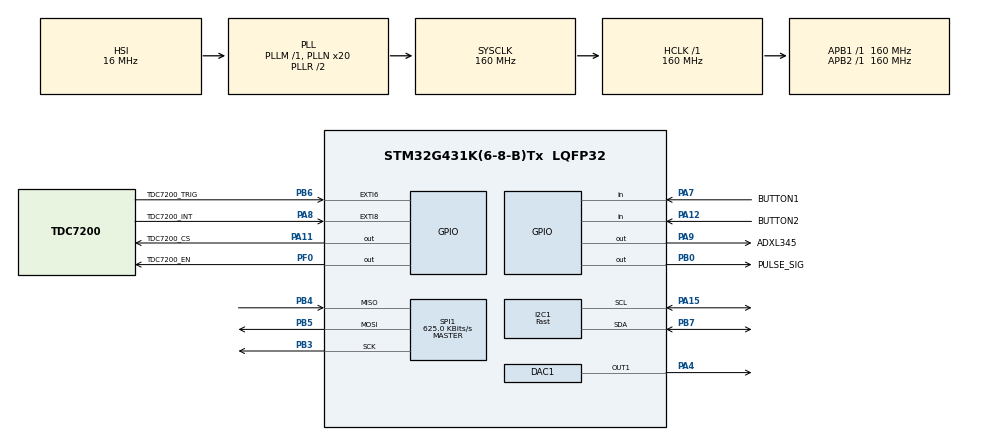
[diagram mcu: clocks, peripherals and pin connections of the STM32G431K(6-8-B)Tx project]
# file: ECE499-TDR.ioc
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DAC1.DAC_Trigger_OUT1-DAC_OUT1=DAC_TRIGGER_SOFTWARE
DAC1.TriangleAmplitude_OUT1-DAC_OUT1=DAC_TRIANGLEAMPLITUDE_2047
DAC1.WaveGeneration_OUT1-DAC_OUT1=TriangleWaveGeneration
I2C1.I2C_Speed_Mode=I2C_Fast
I2C1.Timing=0x00F07BFF
Mcu.Family=STM32G4
Mcu.Name=STM32G431K(6-8-B)Tx
Mcu.Package=LQFP32
NVIC.EXTI9_5_IRQn=true\:0\:0\:false\:false\:true\:true\:true\:true
NVIC.PriorityGroup=NVIC_PRIORITYGROUP_4
PA11.GPIO_Label=TDC7200_CS
PA11.GPIO_PuPd=GPIO_PULLUP
PA11.GPIO_Speed=GPIO_SPEED_FREQ_HIGH
PA11.PinState=GPIO_PIN_SET
PA11.Signal=GPIO_Output
PA12.GPIO_Label=BUTTON2
PA12.Signal=GPIO_Input
PA13.Mode=Serial_Wire
PA13.Signal=SYS_JTMS-SWDIO
PA14.Mode=Serial_Wire
PA14.Signal=SYS_JTCK-SWCLK
PA15.Mode=I2C
PA15.Signal=I2C1_SCL
PA4.Signal=COMP_DAC11_group
PA7.GPIO_Label=BUTTON1
PA7.Signal=GPIO_Input
PA8.GPIO_Label=TDC7200_INT
PA8.GPIO_ModeDefaultEXTI=GPIO_MODE_IT_RISING_FALLING
PA8.Signal=GPXTI8
PA9.GPIO_Label=ADXL345
PA9.GPIO_Speed=GPIO_SPEED_FREQ_HIGH
PA9.Signal=GPIO_Output
PB0.GPIO_Label=PULSE_SIG
PB0.Signal=GPIO_Output
PB3.GPIO_Speed=GPIO_SPEED_FREQ_HIGH
PB3.Mode=Full_Duplex_Master
PB3.Signal=SPI1_SCK
PB4.GPIO_Speed=GPIO_SPEED_FREQ_HIGH
PB4.Mode=Full_Duplex_Master
PB4.Signal=SPI1_MISO
PB5.GPIO_Speed=GPIO_SPEED_FREQ_HIGH
PB5.Mode=Full_Duplex_Master
PB5.Signal=SPI1_MOSI
PB6.GPIO_Label=TDC7200_TRIG
PB6.GPIO_ModeDefaultEXTI=GPIO_MODE_IT_RISING
PB6.Signal=GPXTI6
PB7.Mode=I2C
PB7.Signal=I2C1_SDA
PF0-OSC_IN.GPIO_Label=TDC7200_EN
PF0-OSC_IN.GPIO_PuPd=GPIO_NOPULL
PF0-OSC_IN.GPIO_Speed=GPIO_SPEED_FREQ_HIGH
PF0-OSC_IN.PinState=GPIO_PIN_RESET
PF0-OSC_IN.Signal=GPIO_Output
ProjectManager.HeapSize=0x200
ProjectManager.StackSize=0x400
ProjectManager.TargetToolchain=STM32CubeIDE
RCC.ADC12Freq_Value=160000000
RCC.AHBFreq_Value=160000000
RCC.APB1Freq_Value=160000000
RCC.APB1TimFreq_Value=160000000
RCC.APB2Freq_Value=160000000
RCC.APB2TimFreq_Value=160000000
RCC.CortexFreq_Value=160000000
RCC.EXTERNAL_CLOCK_VALUE=12288000
RCC.HCLKFreq_Value=160000000
RCC.HSE_VALUE=25000000
RCC.HSI48_VALUE=48000000
RCC.HSI_VALUE=16000000
RCC.LSE_VALUE=32768
RCC.PLLN=20
RCC.PWR_Regulator_Voltage_Scale=PWR_REGULATOR_VOLTAGE_SCALE1_BOOST
RCC.SYSCLKFreq_VALUE=160000000
RCC.SYSCLKSource=RCC_SYSCLKSOURCE_PLLCLK
RCC.USBFreq_Value=160000000
RCC.VCOOutputFreq_Value=320000000
SH.COMP_DAC11_group.0=DAC1_OUT1,DAC_OUT1
SPI1.BaudRatePrescaler=SPI_BAUDRATEPRESCALER_256
SPI1.CRCCalculation=SPI_CRCCALCULATION_DISABLE
SPI1.CalculateBaudRate=625.0 KBits/s
SPI1.DataSize=SPI_DATASIZE_8BIT
SPI1.Direction=SPI_DIRECTION_2LINES
SPI1.Mode=SPI_MODE_MASTER
SPI1.TIMode=SPI_TIMODE_DISABLE
SPI1.VirtualType=VM_MASTER
TIM2.AutoReloadPreload=TIM_AUTORELOAD_PRELOAD_ENABLE
TIM2.PeriodNoDither=48000-1
TIM2.Prescaler=10000-1
TIM2.TIM_MasterOutputTrigger=TIM_TRGO_UPDATE
TIM3.PeriodNoDither=85-1
TIM3.Prescaler=1-1
TIM3.TIM_MasterOutputTrigger=TIM_TRGO_UPDATE
TIM6.PeriodNoDither=21000-1
TIM6.Prescaler=40000-1
TIM7.PeriodNoDither=85-1
TIM7.Prescaler=1-1
TIM7.TIM_MasterOutputTrigger=TIM_TRGO_UPDATE
VP_TIM2_VS_ClockSourceINT.Mode=Internal
VP_TIM3_VS_ClockSourceINT.Mode=Internal
VP_TIM6_VS_ClockSourceINT.Mode=Enable_Timer
VP_TIM6_VS_OPM.Mode=OPM_bit
VP_TIM7_VS_ClockSourceINT.Mode=Enable_Timer
board=NUCLEO-G431KB

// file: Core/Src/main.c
/* USER CODE BEGIN Header */
/**
 ******************************************************************************
 * @file           : main.c
 * @brief          : Main program body
 ******************************************************************************
 * @attention
 *
 * Copyright (c) 2023 STMicroelectronics.
 * All rights reserved.
 *
 * This software is licensed under terms that can be found in the LICENSE file
 * in the root directory of this software component.
 * If no LICENSE file comes with this software, it is provided AS-IS.
 *
 ******************************************************************************
 */
/* USER CODE END Header */
#include "main.h"
#include "dac.h"
#include "i2c.h"
#include "spi.h"
#include "tim.h"
#include "gpio.h"

/* USER CODE BEGIN Includes */
#include <stdio.h>
/* USER CODE END Includes */

/* USER CODE BEGIN PTD */
#include "ADXL345.h"
#include "TDC7200_driver.h"
/* USER CODE END PTD */

/* USER CODE BEGIN PV */

char buff[100];
ADXL345 accelDevice;
uint8_t gTDC_TrigFlag= 0;
uint8_t gTDC_IntFlag= 0;

/* USER CODE END PV */

void SystemClock_Config(void);
/* USER CODE BEGIN PFP */
void myOLED_Startup(void);
void myOLED_PrintTDC_Data(double* tdcTime, double* tdcLength);
void myOLED_PrintTDC_Propogation(double* tdcTime);
void myDAC_init(void);

/* USER CODE END PFP */

/* USER CODE BEGIN 0 */

//int _write(int file, char *ptr, int len)
//{
//	HAL_UART_Transmit(&huart2, (uint8_t*) ptr, len, 1000);
//	return len;
//}

/* USER CODE END 0 */

int main(void)
{

  /* MCU Configuration--------------------------------------------------------*/

  /* Reset of all peripherals, Initializes the Flash interface and the Systick. */
  HAL_Init();

  /* Configure the system clock */
  SystemClock_Config();

  /* USER CODE BEGIN SysInit */
  //Note: this GPIO pin PB4 is assigned to the system JTAG RESET pin for the onboard JTAG debugger.
  	//Since we arent using JTAG debugging, we can release PB4 pin from this alternate functionality
  		//and it can now be set to any GPIO functionality
  			//(in the MX_GPIO_Init fxn, it assigns PB4 as the SPI MISO line)
    GPIOB->MODER &= ~GPIO_MODER_MODE4_Msk;
    GPIOB->MODER |= GPIO_MODER_MODE4_0;

  /* USER CODE END SysInit */

  /* Initialize all configured peripherals */
  MX_GPIO_Init();
  MX_I2C1_Init();
  MX_TIM6_Init();
  MX_TIM7_Init();
  MX_TIM3_Init();
  MX_TIM2_Init();
  MX_SPI1_Init();
  MX_DAC1_Init();
  /* USER CODE BEGIN 2 */

 // HAL_TIM_Base_Start_IT(&htim2);

	SSD1306_Init();		//initialize I2C communication b/w MCU and OLED screen
	myOLED_Startup(); //prints startup message to OLED screen
	HAL_Delay(2500);

	myTDC_EnablePowerOn();	//This fxn toggles TDC_EN pin from 0 to 1 to ensure TDC powers up properly
  myTDC_Init(); //this fxn configures various TDC registers to our desired settings

	myDAC_init(); 	//CONFIGURING DAC1 PERIPHERAL MANUALLY
				//(Cuz STM32CubeMX IDE doesn't let you configure DAC to output a simple DC voltage, which we want)

	//HAL_DAC_Start(&hdac1, DAC_CHANNEL_1);

	double totalTime = 0;
	double TDC_singleConvertedTime = 0;
	double TDC_convertedTimeAvg = 0;

	double totalLength = 0;
	double TDC_singleCableLength = 0;
	double TDC_cableLengthAvg = 0;

	double propConstCalc = 0;

	SSD1306_Clear();
	SSD1306_GotoXY(38, 0);
	SSD1306_Puts(" TDR ", &Font_11x18, 0);
	SSD1306_GotoXY(8, 28);
	SSD1306_Puts("Waiting for user", &Font_7x10, 1);

	SSD1306_GotoXY(44, 40);
	SSD1306_Puts("input...", &Font_7x10, 1);

	SSD1306_UpdateScreen();

  /* USER CODE END 2 */

  /* Infinite loop */
	while(1)
	{

    /* USER CODE BEGIN 3 */

		if(HAL_GPIO_ReadPin(BUTTON2_GPIO_Port, BUTTON2_Pin) == 1)
		{
			//button debouncing and anti-button-holding-juicer
			HAL_Delay(100);
			while(HAL_GPIO_ReadPin(BUTTON2_GPIO_Port, BUTTON2_Pin) == 1); //do nothing, wait here until user releases button

			for(uint8_t itr = 0; itr <= 100; itr++)
			{
				myTDC_StartMeasurement(); //MCU will write to TDC configReg to START_MEASUREMENT
				while(gTDC_TrigFlag == 0); //DO NOTHING, WAIT UNTIL TDC_TRIG PIN TRIGGERS MCU ISR, ie: w8 until TDC rdy

				//SET PULSE SIGNAL TO HIGH (TDC WILL START MEASUREMENT AS SOON AS MCU SETS THIS PULSE SIGNAL HIGH)
				HAL_GPIO_WritePin(PULSE_SIG_GPIO_Port, PULSE_SIG_Pin, 1);
				HAL_GPIO_WritePin(PULSE_SIG_GPIO_Port, PULSE_SIG_Pin, 0);

				uint8_t juiceOnce = 0;
				while(gTDC_IntFlag == 0) //wait here until TDC raises interrupt to MCU
				{
					// (ie: wait for TDC to say to MCU: "MEASUREMENT DONE, COME COLLECT JUICER MEASUREMENTS")

					if(juiceOnce == 0)
					{
						SSD1306_Clear();
						SSD1306_GotoXY(38, 0);
						SSD1306_Puts(" TDR ", &Font_11x18, 0);
						SSD1306_GotoXY(0, 24);
						SSD1306_Puts("w8 for intFlag(B1)", &Font_7x10, 1);
						SSD1306_GotoXY(0, 36);
						sprintf(buff, "IntReg: %ld",TDC7200_Read_N_Registers(TDC_INT_STATUS, 1));
						SSD1306_Puts(buff, &Font_7x10, 1);
						SSD1306_UpdateScreen();
					}
					juiceOnce = 1;
				}

				//yoink the measurements from TDC TIMEx registers and do some black magic math to convert to seconds
				myTDC_CalculateTime(&TDC_singleConvertedTime);
				totalTime += TDC_singleConvertedTime;

				TDC_singleCableLength = TDC_singleConvertedTime;
				myTDC_CableLength(&TDC_singleCableLength);
				totalLength += TDC_singleCableLength;
			}
			TDC_convertedTimeAvg = totalTime / 100.0;
			TDC_cableLengthAvg = totalLength / 100.0;

			totalTime = 0;
			totalLength = 0;
			//reset the TDC-related Trigger and Interrupt flags
			gTDC_TrigFlag = 0;
			gTDC_IntFlag 	= 0;

			SSD1306_Clear();
			myOLED_PrintTDC_Data(&TDC_convertedTimeAvg, &TDC_cableLengthAvg); //print to OLED juicer
		}

		if(HAL_GPIO_ReadPin(BUTTON1_GPIO_Port, BUTTON1_Pin) == 1)
		{
			//button debouncing and anti-button-holding-juicer
					HAL_Delay(100);
					while(HAL_GPIO_ReadPin(BUTTON1_GPIO_Port, BUTTON1_Pin) == 1); //do nothing, wait here until user releases button

					for(uint8_t itr = 0; itr <= 100; itr++)
			{
				myTDC_StartMeasurement(); //MCU will write to TDC configReg to START_MEASUREMENT
				while(gTDC_TrigFlag == 0); //DO NOTHING, WAIT UNTIL TDC_TRIG PIN TRIGGERS MCU ISR, ie: w8 until TDC rdy

				//SET PULSE SIGNAL TO HIGH (TDC WILL START MEASUREMENT AS SOON AS MCU SETS THIS PULSE SIGNAL HIGH)
				HAL_GPIO_WritePin(PULSE_SIG_GPIO_Port, PULSE_SIG_Pin, 1);
				HAL_GPIO_WritePin(PULSE_SIG_GPIO_Port, PULSE_SIG_Pin, 0);

				uint8_t juiceOnce = 0;
				while(gTDC_IntFlag == 0) //wait here until TDC raises interrupt to MCU
				{
					// (ie: wait for TDC to say to MCU: "MEASUREMENT DONE, COME COLLECT JUICER MEASUREMENTS")

					if(juiceOnce == 0)
					{
						SSD1306_Clear();
						SSD1306_GotoXY(38, 0);
						SSD1306_Puts(" TDR ", &Font_11x18, 0);
						SSD1306_GotoXY(0, 24);
						SSD1306_Puts("w8 for intFlag(B1)", &Font_7x10, 1);
						SSD1306_GotoXY(0, 36);
						sprintf(buff, "IntReg: %ld",TDC7200_Read_N_Registers(TDC_INT_STATUS, 1));
						SSD1306_Puts(buff, &Font_7x10, 1);
						SSD1306_UpdateScreen();
					}
					juiceOnce = 1;
				}
				//yoink the measurements from TDC TIMEx registers and do some black magic math to convert to seconds
				myTDC_CalculateTime(&TDC_singleConvertedTime);
				totalTime += TDC_singleConvertedTime;
			}
			TDC_convertedTimeAvg = totalTime / 100.0;
			propConstCalc = 1 / (299792458.0L * TDC_convertedTimeAvg);

			totalTime = 0;
			//reset the TDC-related Trigger and Interrupt flags
			gTDC_TrigFlag = 0;
			gTDC_IntFlag = 0;

			SSD1306_Clear();
			myOLED_PrintTDC_Propogation(&propConstCalc);
		}
	}
	HAL_Delay(20);
  /* USER CODE END 3 */
}

void SystemClock_Config(void)
{
  RCC_OscInitTypeDef RCC_OscInitStruct = {0};
  RCC_ClkInitTypeDef RCC_ClkInitStruct = {0};

  /** Configure the main internal regulator output voltage
  */
  HAL_PWREx_ControlVoltageScaling(PWR_REGULATOR_VOLTAGE_SCALE1_BOOST);

  /** Initializes the RCC Oscillators according to the specified parameters
  * in the RCC_OscInitTypeDef structure.
  */
  RCC_OscInitStruct.OscillatorType = RCC_OSCILLATORTYPE_HSI;
  RCC_OscInitStruct.HSIState = RCC_HSI_ON;
  RCC_OscInitStruct.HSICalibrationValue = RCC_HSICALIBRATION_DEFAULT;
  RCC_OscInitStruct.PLL.PLLState = RCC_PLL_ON;
  RCC_OscInitStruct.PLL.PLLSource = RCC_PLLSOURCE_HSI;
  RCC_OscInitStruct.PLL.PLLM = RCC_PLLM_DIV1;
  RCC_OscInitStruct.PLL.PLLN = 20;
  RCC_OscInitStruct.PLL.PLLP = RCC_PLLP_DIV2;
  RCC_OscInitStruct.PLL.PLLQ = RCC_PLLQ_DIV2;
  RCC_OscInitStruct.PLL.PLLR = RCC_PLLR_DIV2;
  if (HAL_RCC_OscConfig(&RCC_OscInitStruct) != HAL_OK)
  {
    Error_Handler();
  }

  /** Initializes the CPU, AHB and APB buses clocks
  */
  RCC_ClkInitStruct.ClockType = RCC_CLOCKTYPE_HCLK|RCC_CLOCKTYPE_SYSCLK
                              |RCC_CLOCKTYPE_PCLK1|RCC_CLOCKTYPE_PCLK2;
  RCC_ClkInitStruct.SYSCLKSource = RCC_SYSCLKSOURCE_PLLCLK;
  RCC_ClkInitStruct.AHBCLKDivider = RCC_SYSCLK_DIV1;
  RCC_ClkInitStruct.APB1CLKDivider = RCC_HCLK_DIV1;
  RCC_ClkInitStruct.APB2CLKDivider = RCC_HCLK_DIV1;

  if (HAL_RCC_ClockConfig(&RCC_ClkInitStruct, FLASH_LATENCY_4) != HAL_OK)
  {
    Error_Handler();
  }
}

/* USER CODE BEGIN 4 */

void myOLED_Startup(void)
{
	SSD1306_Clear();
	SSD1306_GotoXY(38, 0);
	SSD1306_Puts(" TDR ", &Font_11x18, 0);
	SSD1306_GotoXY(24, 22);
	SSD1306_Puts("Time-Domain", &Font_7x10, 1);
	SSD1306_GotoXY(20, 34);
	SSD1306_Puts("Reflectometer", &Font_7x10, 1);

	SSD1306_GotoXY(24, 52);
	SSD1306_Puts("UVic ECE499", &Font_7x10, 1);
	SSD1306_UpdateScreen();
}

void myOLED_PrintTDC_Data(double* tdcTime, double* tdcLength)
{
	SSD1306_GotoXY(38, 0);
	SSD1306_Puts(" TDR ", &Font_11x18, 0);
	SSD1306_GotoXY(0, 24);
	sprintf(buff, "ToF: %0.3e s", *tdcTime);
	SSD1306_Puts(buff, &Font_7x10, 1);

	SSD1306_GotoXY(0, 40);
	SSD1306_Puts("Cable ", &Font_7x10, 1);
	SSD1306_GotoXY(50, 46);
	sprintf(buff, "%0.3f m", *tdcLength);
	SSD1306_Puts(buff, &Font_7x10, 1);
	SSD1306_GotoXY(0, 52);
	SSD1306_Puts("Length ", &Font_7x10, 1);
	SSD1306_UpdateScreen();
}

void myOLED_PrintTDC_Propogation(double* tdcTime)
{
	SSD1306_GotoXY(38, 0);
	SSD1306_Puts(" TDR ", &Font_11x18, 0);
	SSD1306_GotoXY(0, 28);
	SSD1306_Puts("Propagation" , &Font_7x10, 1);

	SSD1306_GotoXY(0, 40);
	SSD1306_Puts("Calculation", &Font_7x10, 1);
	SSD1306_GotoXY(46, 52);
	sprintf(buff, "%0.3f ", *tdcTime);
	SSD1306_Puts(buff, &Font_7x10, 1);
	SSD1306_UpdateScreen();
}
//THIS FXN WILL CONFIGURE DAC TO OUTPUT A STEADY VOLTAGE WHICH WE CAN ADJUST AS DESIRED
void myDAC_init(void)
{
  DAC->CR |= DAC_CR_EN1; 	// Enable channel 1 (connected to pin PA4)

  // Configure DAC trigger source (software trigger)
  DAC->CR &= ~DAC_CR_TEN1;
  DAC->CR &= ~DAC_CR_TSEL1;

  DAC->CR |= DAC_CR_EN1;	// Enable DAC

	// Set DAC output voltage to "on" state (e.g., VREF)
	DAC->DHR12R1 = 2047; 	//ie: DAC will output VREF/2 on its' output
												//(ex: if VREF = 3.3V, DAC outputs a constant 1.65V)

	// Trigger a DAC conversion - ie: DAC will now output 1.65V dc
	DAC->SWTRIGR |= DAC_SWTRIGR_SWTRIG1;
}

void HAL_GPIO_EXTI_Callback(uint16_t GPIO_Pin)
{
	//confirm that the EXTI was triggered by TDC7200_TRIG_Pin (PIN PB6) and not some rando pin
																					// (since this ISR is shared between pins 5:9 of each GPIO port)
	if(GPIO_Pin == TDC7200_TRIG_Pin)
	{
		//TDC HAS RAISED INTERRUPT, SIGNALING TO MCU THAT NEW MEASUREMENT HAS BEGUN
		gTDC_TrigFlag = 1;  //set the triggerFlag variable to 1, then main while loop code juicer will continue

	}
	if (GPIO_Pin == TDC7200_INT_Pin)
	{
		gTDC_IntFlag = 1;
	}
}

/* USER CODE END 4 */

void Error_Handler(void)
{
	__disable_irq();
	while(1)
	{
	}
}
